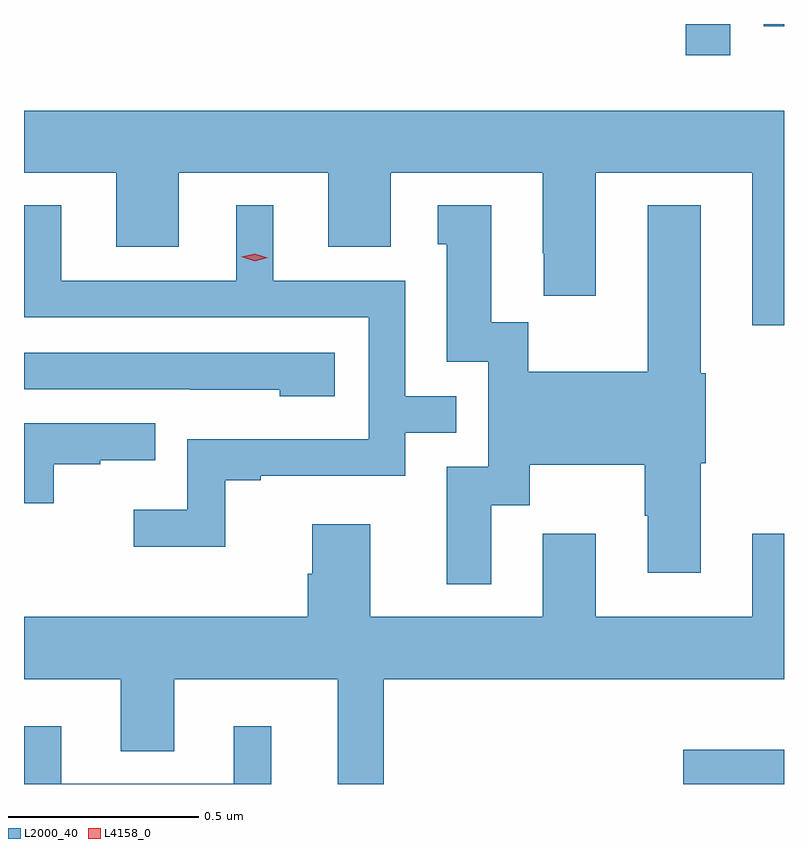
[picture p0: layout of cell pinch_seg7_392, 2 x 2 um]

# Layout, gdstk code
import gdstk
lib = gdstk.Library(unit=1e-6, precision=1e-09)
def R(c, l, rs):  # rectangles x0, y0, x1, y1
    for r in rs: c.add(gdstk.rectangle(r[:2], r[2:], *l))
def P(c, l, *ps):  # polygons
    for p in ps: c.add(gdstk.Polygon(p, *l))
L2000_40 = (2000, 40)
L4158_0 = (4158, 0)

pinch_seg7_392 = lib.new_cell('pinch_seg7_392')
R(pinch_seg7_392, L2000_40, [(399.357,1021.652,399.622,1021.742), (399.364,1023.57,399.48,1023.652), (399.569,1023.646,399.622,1023.652)])
P(pinch_seg7_392, L2000_40, [(399.622,1023.424),(397.622,1023.424),(397.622,1023.26),(397.865,1023.26),(397.865,1023.066),(398.029,1023.066),(398.029,1023.26),(398.423,1023.26),(398.423,1023.066),(398.587,1023.066),(398.587,1023.26),(398.987,1023.26),(398.987,1023.049),(398.99,1023.049),(398.99,1022.937),(399.127,1022.937),(399.127,1023.26),(399.539,1023.26),(399.539,1022.859),(399.622,1022.859)],
  [(398.151,1022.451),(398.245,1022.451),(398.245,1022.463),(398.625,1022.463),(398.625,1022.577),(398.759,1022.577),(398.759,1022.673),(398.625,1022.673),(398.625,1022.976),(398.278,1022.976),(398.278,1023.175),(398.18,1023.175),(398.18,1022.976),(397.72,1022.976),(397.72,1023.175),(397.622,1023.175),(397.622,1022.88),(398.529,1022.88),(398.529,1022.559),(398.052,1022.559),(398.052,1022.374),(397.911,1022.374),(397.911,1022.276),(398.151,1022.276)],
  [(398.851,1022.386),(398.953,1022.386),(398.953,1022.492),(399.256,1022.492),(399.256,1022.358),(399.263,1022.358),(399.263,1022.208),(399.403,1022.208),(399.403,1022.496),(399.416,1022.496),(399.416,1022.733),(399.403,1022.733),(399.403,1023.175),(399.263,1023.175),(399.263,1022.737),(398.949,1022.737),(398.949,1022.867),(398.851,1022.867),(398.851,1023.175),(398.711,1023.175),(398.711,1023.072),(398.735,1023.072),(398.735,1022.763),(398.844,1022.763),(398.844,1022.487),(398.735,1022.487),(398.735,1022.178),(398.851,1022.178)],
  [(398.44,1022.787),(397.622,1022.787),(397.622,1022.691),(398.059,1022.691),(398.059,1022.69),(398.295,1022.69),(398.295,1022.672),(398.44,1022.672)],
  [(397.7,1022.493),(397.823,1022.493),(397.823,1022.504),(397.967,1022.504),(397.967,1022.601),(397.622,1022.601),(397.622,1022.391),(397.7,1022.391)],
  [(398.569,1021.928),(399.622,1021.928),(399.622,1022.311),(399.539,1022.311),(399.539,1022.092),(399.127,1022.092),(399.127,1022.311),(398.987,1022.311),(398.987,1022.092),(398.533,1022.092),(398.533,1022.335),(398.381,1022.335),(398.381,1022.205),(398.369,1022.205),(398.369,1022.092),(397.622,1022.092),(397.622,1021.928),(397.877,1021.928),(397.877,1021.738),(398.017,1021.738),(398.017,1021.928),(398.447,1021.928),(398.447,1021.652),(398.569,1021.652)],
  [(398.272,1021.804),(398.174,1021.804),(398.174,1021.653),(397.72,1021.653),(397.72,1021.804),(397.622,1021.804),(397.622,1021.652),(398.272,1021.652)])
P(pinch_seg7_392, L4158_0, [(398.229,1023.028),(398.194,1023.039),(398.193,1023.04),(398.194,1023.04),(398.229,1023.048),(398.264,1023.037),(398.265,1023.037),(398.264,1023.037)])

lib.write_gds('pinch_seg7_392.gds')
